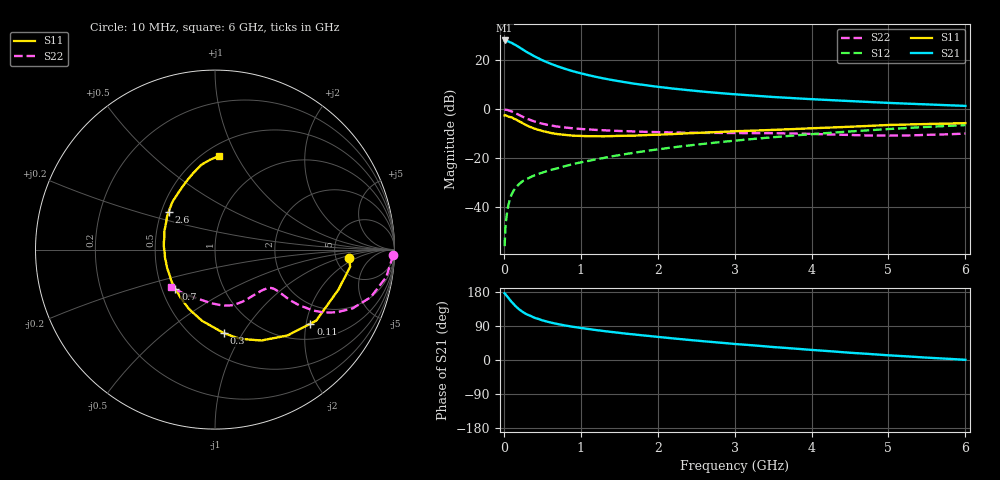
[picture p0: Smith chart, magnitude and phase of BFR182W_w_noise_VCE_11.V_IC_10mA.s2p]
! (c) 2017  Infineon Technologies AG, Munich
! Infineon Technologies  Discrete & RF Semiconductors
! BFR182W
! VCE =  11. V,  IC =  10 mA
! Common Emitter S-Parameters:  Jan 2017
# GHz  S  MA  R  50
!  f  S11  S21  S12  S22
! GHz  MAG  ANG  MAG  ANG  MAG  ANG  MAG  ANG
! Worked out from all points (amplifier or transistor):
!   77 points, 10 MHz to 6 GHz, reference 50 ohm
!   highest |S21| = 28.1 dB at 10 MHz (marker M1)
!   |S21| within 3 dB of that: start of sweep to 210.4 MHz
!   unconditionally stable (mu >= 1): 1.093 GHz to 2.665 GHz
!   at 130 MHz: K = 0.28, MSG = 29.9 dB, |S12| = -33.1 dB
!   at 2.2 GHz: K = 1.03, MAG = 11.0 dB, |S12| = -15.6 dB
!   at 6 GHz: K = 0.85, MSG = 3.9 dB, |S12| = -6.4 dB
!   lowest NFmin = 1.07 dB at 450 MHz
!   S11 on the Smith chart (normalised r, x): 10 MHz: 6.70, -1.45; 110 MHz: 1.41, -2.12; 300 MHz: 0.70, -0.83; 700 MHz: 0.59, -0.29; 2.6 GHz: 0.55, +0.26; 6 GHz: 0.59, +0.85
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0.01  0.7506 -3.6  25.49 176.2  0.0016 82.2  0.9917 -1.8
0.02  0.7588 -7.3  25.49 173.8  0.0037 92.2  0.984 -3.8
0.05  0.7226 -18.1  24.64 165.9  0.0094 79.5  0.9664 -9.1
0.1  0.6889 -35.1  22.9 153.4  0.0181 73.9  0.9075 -17.0
0.11  0.6729 -37.8  22.4 151.4  0.0194 72.7  0.8921 -18.1
0.15  0.6259 -49.9  20.68 142.5  0.0248 69.2  0.8343 -23.1
0.2  0.5685 -63.0  18.48 133.6  0.0299 65.1  0.7621 -27.3
0.25  0.5155 -74.5  16.51 126.1  0.0345 62.0  0.6985 -30.1
0.3  0.4678 -84.0  14.72 120.3  0.0377 60.8  0.6417 -31.9
0.4  0.4034 -100.3  12.06 111.3  0.045 60.4  0.5621 -33.5
0.5  0.3611 -113.8  10.06 104.7  0.0508 60.1  0.5078 -34.0
0.6  0.3306 -125.0  8.636 99.3  0.0572 60.7  0.4703 -33.8
0.7  0.3111 -135.2  7.526 94.9  0.0626 62.4  0.4435 -33.6
0.9  0.2892 -151.6  5.983 87.6  0.0759 63.7  0.4093 -33.5
1.1  0.2822 -164.9  4.983 81.8  0.0884 65.0  0.3879 -33.9
1.5  0.2865 174.9  3.739 71.7  0.1159 65.8  0.3609 -36.8
2.1  0.3071 153.7  2.766 59.1  0.1592 64.8  0.3386 -45.3
2.6  0.3337 140.7  2.288 49.4  0.197 62.6  0.3299 -54.7
3.1  0.3604 129.5  1.977 40.8  0.2365 59.7  0.3269 -64.3
4.1  0.4155 111.9  1.582 25.2  0.3186 52.3  0.3113 -84.0
5.1  0.4824 98.0  1.332 11.2  0.403 43.4  0.2904 -112.7
6  0.5215 87.7  1.174 0.5  0.4766 34.5  0.3196 -139.4
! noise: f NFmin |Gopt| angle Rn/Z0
0.45  1.07  0.08  50  0.15
0.9  1.15  0.07  86  0.15
1.9  1.65  0.19  -164  0.13
2.4  1.9  0.18  -156  0.2
